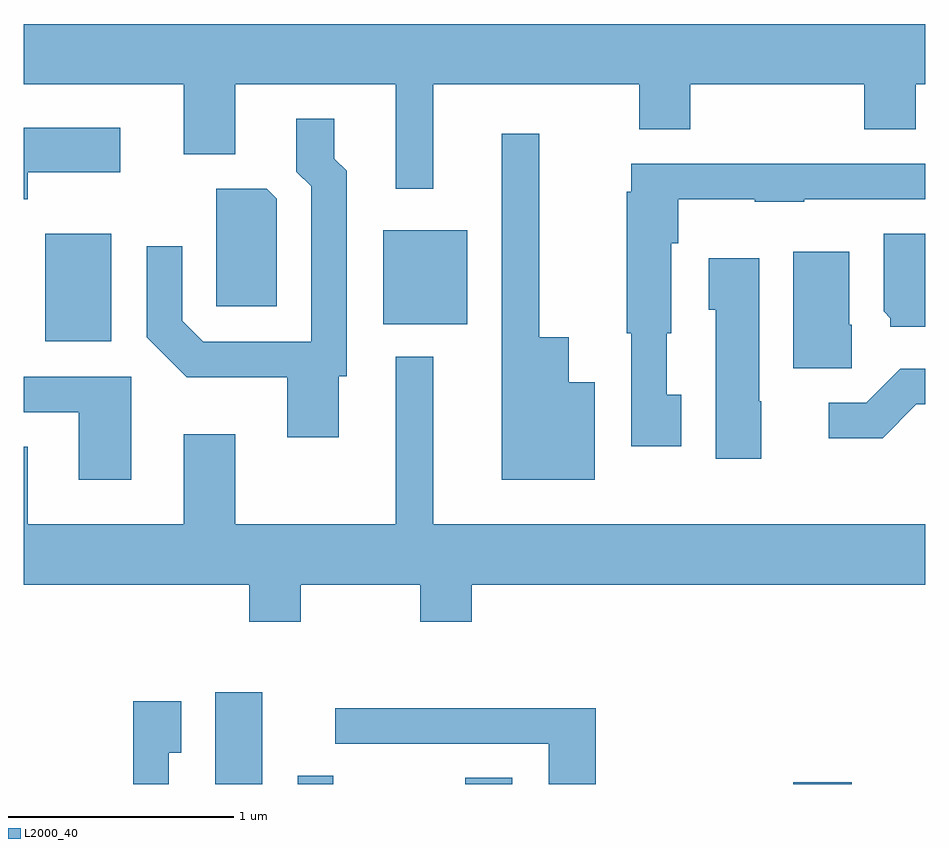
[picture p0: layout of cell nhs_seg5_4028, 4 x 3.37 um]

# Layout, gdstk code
import gdstk
lib = gdstk.Library(unit=1e-6, precision=1e-09)
def R(c, l, rs):  # rectangles x0, y0, x1, y1
    for r in rs: c.add(gdstk.rectangle(r[:2], r[2:], *l))
def P(c, l, *ps):  # polygons
    for p in ps: c.add(gdstk.Polygon(p, *l))
L2000_40 = (2000, 40)

nhs_seg5_4028 = lib.new_cell('nhs_seg5_4028')
R(nhs_seg5_4028, L2000_40, [(304.461,1518.072,304.669,1518.479), (304.826,1518.072,304.984,1518.108), (305.571,1518.072,305.779,1518.099), (307.026,1518.072,307.284,1518.079), (303.706,1520.036,303.999,1520.514), (305.206,1520.111,305.579,1520.529)])
P(nhs_seg5_4028, L2000_40, [(305.429,1521.176),(306.341,1521.176),(306.341,1520.976),(306.569,1520.976),(306.569,1521.176),(307.341,1521.176),(307.341,1520.976),(307.569,1520.976),(307.569,1521.176),(307.611,1521.176),(307.611,1521.444),(303.611,1521.444),(303.611,1521.176),(304.321,1521.176),(304.321,1520.866),(304.549,1520.866),(304.549,1521.176),(305.261,1521.176),(305.261,1520.713),(305.429,1520.713)],
  [(305.009,1519.881),(305.044,1519.881),(305.044,1520.792),(304.989,1520.847),(304.989,1521.023),(304.821,1521.023),(304.821,1520.789),(304.886,1520.724),(304.886,1520.034),(304.407,1520.034),(304.314,1520.127),(304.314,1520.458),(304.156,1520.458),(304.156,1520.054),(304.334,1519.876),(304.781,1519.876),(304.781,1519.611),(305.009,1519.611)],
  [(303.629,1520.786),(304.039,1520.786),(304.039,1520.984),(303.611,1520.984),(303.611,1520.666),(303.629,1520.666)],
  [(306.144,1519.854),(306.029,1519.854),(306.029,1520.054),(305.899,1520.054),(305.899,1520.958),(305.731,1520.958),(305.731,1519.421),(306.144,1519.421)],
  [(306.529,1519.799),(306.464,1519.799),(306.464,1520.071),(306.484,1520.071),(306.484,1520.471),(306.514,1520.471),(306.514,1520.666),(306.855,1520.666),(306.855,1520.656),(307.075,1520.656),(307.075,1520.666),(307.611,1520.666),(307.611,1520.824),(306.306,1520.824),(306.306,1520.699),(306.286,1520.699),(306.286,1520.071),(306.306,1520.071),(306.306,1519.571),(306.529,1519.571)],
  [(304.734,1520.669),(304.689,1520.714),(304.466,1520.714),(304.466,1520.191),(304.734,1520.191)],
  [(307.611,1520.514),(307.426,1520.514),(307.426,1520.169),(307.456,1520.139),(307.456,1520.101),(307.611,1520.101)],
  [(307.284,1520.11),(307.274,1520.11),(307.274,1520.434),(307.026,1520.434),(307.026,1519.916),(307.284,1519.916)],
  [(306.884,1519.77),(306.874,1519.77),(306.874,1520.404),(306.651,1520.404),(306.651,1520.176),(306.681,1520.176),(306.681,1519.516),(306.884,1519.516)],
  [(304.839,1518.956),(305.371,1518.956),(305.371,1518.791),(305.599,1518.791),(305.599,1518.956),(307.611,1518.956),(307.611,1519.224),(305.429,1519.224),(305.429,1519.968),(305.261,1519.968),(305.261,1519.224),(304.549,1519.224),(304.549,1519.624),(304.321,1519.624),(304.321,1519.224),(303.629,1519.224),(303.629,1519.569),(303.611,1519.569),(303.611,1518.956),(304.611,1518.956),(304.611,1518.791),(304.839,1518.791)],
  [(307.572,1519.756),(307.611,1519.756),(307.611,1519.914),(307.499,1519.914),(307.349,1519.764),(307.183,1519.764),(307.183,1519.606),(307.422,1519.606)],
  [(304.089,1519.879),(303.611,1519.879),(303.611,1519.721),(303.856,1519.721),(303.856,1519.421),(304.089,1519.421)],
  [(304.254,1518.211),(304.309,1518.211),(304.309,1518.439),(304.096,1518.439),(304.096,1518.072),(304.254,1518.072)],
  [(306.149,1518.409),(304.993,1518.409),(304.993,1518.251),(305.941,1518.251),(305.941,1518.072),(306.149,1518.072)])

lib.write_gds('nhs_seg5_4028.gds')
